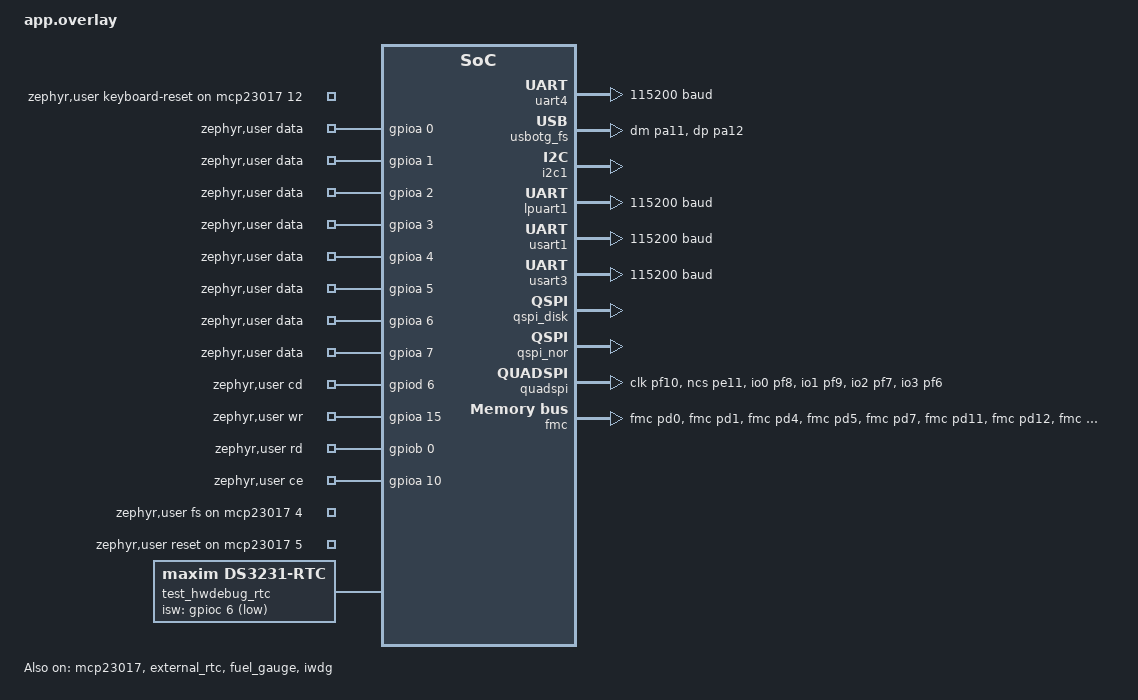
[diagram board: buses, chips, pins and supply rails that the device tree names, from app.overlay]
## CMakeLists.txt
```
# SPDX-License-Identifier: Apache-2.0
cmake_minimum_required(VERSION 3.28.0)

set(BOARD_ROOT ${CMAKE_CURRENT_LIST_DIR}/../..)
find_package(Zephyr REQUIRED HINTS $ENV{ZEPHYR_BASE})
project(test-hwdebug)

target_sources(app PRIVATE
	src/main.c
	src/test_result.c
	src/flash.c
	src/mcp23017.c
	src/rtc.c
	src/fuel_gauge.c
	src/peripheral_tests.c
	src/keyboard_update.c
	src/keyboard_i2c_debug.c
	src/sram_test.c
	src/sram_power.c
	${CMAKE_CURRENT_LIST_DIR}/../../shared/ef800_drivers/ef800_mcp23017.c
	${CMAKE_CURRENT_LIST_DIR}/../../shared/ef800_drivers/ef800_max17043.c
	${CMAKE_CURRENT_LIST_DIR}/../../shared/ef800_drivers/ef800_t6963.c
	${CMAKE_CURRENT_LIST_DIR}/../../shared/ef800_update/ef800_update.c
	${CMAKE_CURRENT_LIST_DIR}/../../shared/ef800_update/ef800_firmware_package.c
	${CMAKE_CURRENT_LIST_DIR}/../../shared/ef800_composition/ef800_composition.c
	${CMAKE_CURRENT_LIST_DIR}/../../shared/ef800_persistence/ef800_persistence.c
	${ZEPHYR_HAL_STM32_MODULE_DIR}/stm32cube/stm32l4xx/drivers/src/stm32l4xx_hal_gpio.c
	${ZEPHYR_HAL_STM32_MODULE_DIR}/stm32cube/stm32l4xx/drivers/src/stm32l4xx_hal_i2c.c
	${ZEPHYR_HAL_STM32_MODULE_DIR}/stm32cube/stm32l4xx/drivers/src/stm32l4xx_hal_i2c_ex.c
	${ZEPHYR_HAL_STM32_MODULE_DIR}/stm32cube/stm32l4xx/drivers/src/stm32l4xx_hal_uart.c
	${ZEPHYR_HAL_STM32_MODULE_DIR}/stm32cube/stm32l4xx/drivers/src/stm32l4xx_hal_uart_ex.c
)

target_include_directories(app PRIVATE
	${CMAKE_CURRENT_LIST_DIR}/../../shared/ef800_drivers
	${CMAKE_CURRENT_LIST_DIR}/../../shared/keyboard_protocol
	${CMAKE_CURRENT_LIST_DIR}/../../shared/ef800_keyboard_boot
	${CMAKE_CURRENT_LIST_DIR}/../../shared/ef800_update
	${CMAKE_CURRENT_LIST_DIR}/../../shared/ef800_composition
	${CMAKE_CURRENT_LIST_DIR}/../../shared/ef800_persistence
)
```

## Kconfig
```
# SPDX-License-Identifier: Apache-2.0

menu "test hardware debug"

config TEST_HWDEBUG_QSPI_HAL
	bool "Use the STM32 QSPI HAL for direct probing"
	default y
	select USE_STM32_HAL_DMA
	select USE_STM32_HAL_QSPI
	help
	  Link the STM32 QSPI HAL for the direct read-only hardware probe without
	  enabling the generic Zephyr external-flash driver.

endmenu

config EF800_APPLICATION_LCD_STATUS_TIMEOUT_US
	int "T6963 status polling timeout (us)"
	default 1000
	range 100 100000
	help
		Bounded status polling timeout used by the shared T6963 driver.

config EF800_USB_VID
	hex "Hardware-debug USB vendor ID"
	default 0x2fe3

config EF800_USB_PID
	hex "Hardware-debug USB product ID"
	default 0xef82

source "Kconfig.zephyr"
```

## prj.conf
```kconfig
# SPDX-License-Identifier: Apache-2.0

# The image replaces the normal internal flash image during bench testing.
CONFIG_USE_DT_CODE_PARTITION=y
CONFIG_MAIN_STACK_SIZE=4096
CONFIG_TEST_HWDEBUG_QSPI_HAL=y

CONFIG_GPIO=y
CONFIG_HWINFO=y
CONFIG_SERIAL=y
CONFIG_CLOCK_CONTROL=y
CONFIG_PINCTRL=y
CONFIG_MEMC=y
CONFIG_I2C=y
CONFIG_GPIO_MCP230XX=y
CONFIG_MFD=y
CONFIG_RTC=y
CONFIG_RTC_DS3231=y
CONFIG_FUEL_GAUGE=y
CONFIG_MAX17048=y
# The minimal new-PCB image has no watchdog or auxiliary peripherals.
CONFIG_WATCHDOG=y

# USB CDC-ACM is the only console transport in this temporary image. The
# application owns a small line-oriented command parser instead of pulling in
# the full Zephyr shell.
CONFIG_UART_INTERRUPT_DRIVEN=y
CONFIG_UART_USE_RUNTIME_CONFIGURE=y
CONFIG_UART_LINE_CTRL=y

# Keep driver diagnostics enabled while the target is being brought up. These
# messages are useful when the flash-disk write path is exercised through MSC.
CONFIG_LOG=n

# Storage ownership test: the test formats the QSPI volume only after an
# explicit console confirmation, then switches ownership between FAT and MSC.
CONFIG_DISK_DRIVERS=y
CONFIG_DISK_DRIVER_FLASH=y
CONFIG_FILE_SYSTEM=y
CONFIG_FILE_SYSTEM_MKFS=y
CONFIG_FAT_FILESYSTEM_ELM=y
CONFIG_FS_FATFS_MOUNT_MKFS=y
CONFIG_FS_FATFS_LFN=y
CONFIG_FS_FATFS_LFN_MODE_STACK=y
CONFIG_USB_DEVICE_STACK_NEXT=y
CONFIG_USBD_MSC_CLASS=y
CONFIG_USBD_CDC_ACM_CLASS=y
CONFIG_CDC_ACM_SERIAL_INITIALIZE_AT_BOOT=n
CONFIG_USBD_MSC_LUNS_PER_INSTANCE=1
CONFIG_USBD_MSC_SCSI_BUFFER_SIZE=512
CONFIG_EF800_USB_VID=0x2fe3
CONFIG_EF800_USB_PID=0x0008
```

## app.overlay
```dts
/* SPDX-License-Identifier: Apache-2.0 */

/ {
	chosen {
		zephyr,code-partition = &hwdebug_partition;
		zephyr,console = &uart4;
		zephyr,shell-uart = &uart4;
	};
};

/* UART4 is the standalone bring-up console: PC10=TX, PC11=RX, 115200 8N1. */
&uart4 {
	current-speed = <115200>;
	status = "okay";
};

/* UART4, Bank 1 IS25, MCP23017, DS3231, and MAX17048 are fitted for bring-up. */
&usbotg_fs {
	status = "okay";
};

&i2c1 {
	status = "okay";
};

&mcp23017 {
	status = "okay";
};

&external_rtc {
	compatible = "maxim,ds3231-mfd";
	status = "okay";

	test_hwdebug_rtc: rtc {
		compatible = "maxim,ds3231-rtc";
		isw-gpios = <&gpioc 6 GPIO_ACTIVE_LOW>;
		status = "okay";
	};
};

&fuel_gauge {
	status = "okay";
};

&lpuart1 {
	current-speed = <115200>;
	status = "okay";
};

&usart1 {
	current-speed = <115200>;
	status = "okay";
};

&uart4 {
	current-speed = <115200>;
	status = "okay";
};

&usart3 {
	current-speed = <115200>;
	status = "okay";
};

&iwdg {
	status = "okay";
};


/* The storage test owns the QSPI disk and switches it between FAT and MSC. */
&qspi_disk {
	status = "okay";
};

/* The storage test uses the generic NOR driver through the flash-disk API. */
&qspi_nor {
	status = "okay";
	size = <DT_SIZE_M(32)>; /* IS25LP032D: 32 Mbit = 4 MiB */
	qspi-max-frequency = <8000000>;
	cs-high-time = <2>;
	reset-cmd;
	reset-cmd-wait = <10>;
	spi-bus-width = <4>;
	writeoc = "PP_1_1_4";
};

&quadspi {
	ssht-enable;
};

&usbotg_fs {
	pinctrl-0 = <&usb_otg_fs_dm_pa11 &usb_otg_fs_dp_pa12>;
	pinctrl-names = "default";
	status = "okay";

	cdc_acm_uart0: cdc_acm_uart0 {
		compatible = "zephyr,cdc-acm-uart";
		label = "EF800 USB CDC ACM";
	};
};

/* The debug image owns the parallel T6963 during display bring-up. */
/ {
	zephyr,user {
		keyboard-reset-gpios = <&mcp23017 12 0>;
		data-gpios = <&gpioa 0 0>, <&gpioa 1 0>, <&gpioa 2 0>,
				     <&gpioa 3 0>, <&gpioa 4 0>, <&gpioa 5 0>,
				     <&gpioa 6 0>, <&gpioa 7 0>;
		cd-gpios = <&gpiod 6 0>;
		wr-gpios = <&gpioa 15 0>;
		rd-gpios = <&gpiob 0 0>;
		ce-gpios = <&gpioa 10 0>;
		fs-gpios = <&mcp23017 4 0>;
		reset-gpios = <&mcp23017 5 0>;
		pixels-horizontal = <240>;
		pixels-vertical = <64>;
		font-width = <6>;
		memory-kb = <8>;
	};
};

#include <zephyr/dt-bindings/pinctrl/stm32-pinctrl.h>
#include <zephyr/dt-bindings/memory-controller/stm32-fmc-nor-psram.h>
#include <zephyr/dt-bindings/clock/stm32_clock.h>

&pinctrl {
	/* Each FMC pad is separate because STM32 pinctrl accepts one pinmux per node. */
	fmc_pd0: fmc_pd0 { pinmux = <STM32_PINMUX('D', 0, AF12)>; slew-rate = "very-high-speed"; };
	fmc_pd1: fmc_pd1 { pinmux = <STM32_PINMUX('D', 1, AF12)>; slew-rate = "very-high-speed"; };
	fmc_pd4: fmc_pd4 { pinmux = <STM32_PINMUX('D', 4, AF12)>; slew-rate = "very-high-speed"; };
	fmc_pd5: fmc_pd5 { pinmux = <STM32_PINMUX('D', 5, AF12)>; slew-rate = "very-high-speed"; };
	fmc_pd7: fmc_pd7 { pinmux = <STM32_PINMUX('D', 7, AF12)>; slew-rate = "very-high-speed"; };
	fmc_pd11: fmc_pd11 { pinmux = <STM32_PINMUX('D', 11, AF12)>; slew-rate = "very-high-speed"; };
	fmc_pd12: fmc_pd12 { pinmux = <STM32_PINMUX('D', 12, AF12)>; slew-rate = "very-high-speed"; };
	fmc_pd13: fmc_pd13 { pinmux = <STM32_PINMUX('D', 13, AF12)>; slew-rate = "very-high-speed"; };
	fmc_pd14: fmc_pd14 { pinmux = <STM32_PINMUX('D', 14, AF12)>; slew-rate = "very-high-speed"; };
	fmc_pd15: fmc_pd15 { pinmux = <STM32_PINMUX('D', 15, AF12)>; slew-rate = "very-high-speed"; };
	fmc_pf0: fmc_pf0 { pinmux = <STM32_PINMUX('F', 0, AF12)>; slew-rate = "very-high-speed"; };
	fmc_pf1: fmc_pf1 { pinmux = <STM32_PINMUX('F', 1, AF12)>; slew-rate = "very-high-speed"; };
	fmc_pf2: fmc_pf2 { pinmux = <STM32_PINMUX('F', 2, AF12)>; slew-rate = "very-high-speed"; };
	fmc_pf3: fmc_pf3 { pinmux = <STM32_PINMUX('F', 3, AF12)>; slew-rate = "very-high-speed"; };
	fmc_pf4: fmc_pf4 { pinmux = <STM32_PINMUX('F', 4, AF12)>; slew-rate = "very-high-speed"; };
	fmc_pf5: fmc_pf5 { pinmux = <STM32_PINMUX('F', 5, AF12)>; slew-rate = "very-high-speed"; };
	fmc_pf12: fmc_pf12 { pinmux = <STM32_PINMUX('F', 12, AF12)>; slew-rate = "very-high-speed"; };
	fmc_pf13: fmc_pf13 { pinmux = <STM32_PINMUX('F', 13, AF12)>; slew-rate = "very-high-speed"; };
	fmc_pf14: fmc_pf14 { pinmux = <STM32_PINMUX('F', 14, AF12)>; slew-rate = "very-high-speed"; };
	fmc_pf15: fmc_pf15 { pinmux = <STM32_PINMUX('F', 15, AF12)>; slew-rate = "very-high-speed"; };
	fmc_pg0: fmc_pg0 { pinmux = <STM32_PINMUX('G', 0, AF12)>; slew-rate = "very-high-speed"; };
	fmc_pg1: fmc_pg1 { pinmux = <STM32_PINMUX('G', 1, AF12)>; slew-rate = "very-high-speed"; };
	fmc_pg2: fmc_pg2 { pinmux = <STM32_PINMUX('G', 2, AF12)>; slew-rate = "very-high-speed"; };
	fmc_pg3: fmc_pg3 { pinmux = <STM32_PINMUX('G', 3, AF12)>; slew-rate = "very-high-speed"; };
	fmc_pg4: fmc_pg4 { pinmux = <STM32_PINMUX('G', 4, AF12)>; slew-rate = "very-high-speed"; };
	fmc_pg5: fmc_pg5 { pinmux = <STM32_PINMUX('G', 5, AF12)>; slew-rate = "very-high-speed"; };
	fmc_pe0: fmc_pe0 { pinmux = <STM32_PINMUX('E', 0, AF12)>; slew-rate = "very-high-speed"; };
	fmc_pe7: fmc_pe7 { pinmux = <STM32_PINMUX('E', 7, AF12)>; slew-rate = "very-high-speed"; };
	fmc_pe8: fmc_pe8 { pinmux = <STM32_PINMUX('E', 8, AF12)>; slew-rate = "very-high-speed"; };
	fmc_pe9: fmc_pe9 { pinmux = <STM32_PINMUX('E', 9, AF12)>; slew-rate = "very-high-speed"; };
	fmc_pe10: fmc_pe10 { pinmux = <STM32_PINMUX('E', 10, AF12)>; };

	usart1_tx_pb6: usart1_tx_pb6 {
		pinmux = <STM32_PINMUX('B', 6, AF7)>;
		bias-pull-up;
		drive-push-pull;
	};

	usart1_rx_pb7: usart1_rx_pb7 {
		pinmux = <STM32_PINMUX('B', 7, AF7)>;
		bias-pull-up;
	};

	usart3_tx_pd8: usart3_tx_pd8 {
		pinmux = <STM32_PINMUX('D', 8, AF7)>;
		bias-pull-up;
		drive-push-pull;
	};

	usart3_rx_pd9: usart3_rx_pd9 {
		pinmux = <STM32_PINMUX('D', 9, AF7)>;
		bias-pull-up;
	};

	lpuart1_tx_pg7: lpuart1_tx_pg7 {
		pinmux = <STM32_PINMUX('G', 7, AF8)>;
		bias-pull-up;
		drive-push-pull;
	};

	lpuart1_rx_pc0: lpuart1_rx_pc0 {
		pinmux = <STM32_PINMUX('C', 0, AF8)>;
		bias-pull-up;
	};

	usb_otg_fs_dm_pa11: usb_otg_fs_dm_pa11 {
		pinmux = <STM32_PINMUX('A', 11, AF10)>;
	};

	usb_otg_fs_dp_pa12: usb_otg_fs_dp_pa12 {
		pinmux = <STM32_PINMUX('A', 12, AF10)>;
	};


	quadspi_clk_pf10: quadspi_clk_pf10 {
		pinmux = <STM32_PINMUX('F', 10, AF3)>;
	};

	quadspi_bk1_ncs_pe11: quadspi_bk1_ncs_pe11 {
		pinmux = <STM32_PINMUX('E', 11, AF10)>;
		bias-pull-up;
	};

	quadspi_bk1_io0_pf8: quadspi_bk1_io0_pf8 {
		pinmux = <STM32_PINMUX('F', 8, AF10)>;
	};

	quadspi_bk1_io1_pf9: quadspi_bk1_io1_pf9 {
		pinmux = <STM32_PINMUX('F', 9, AF10)>;
	};

	quadspi_bk1_io2_pf7: quadspi_bk1_io2_pf7 {
		pinmux = <STM32_PINMUX('F', 7, AF10)>;
		bias-pull-up;
	};

	quadspi_bk1_io3_pf6: quadspi_bk1_io3_pf6 {
		pinmux = <STM32_PINMUX('F', 6, AF10)>;
		bias-pull-up;
	};

};

&fmc {
	pinctrl-0 = <&fmc_pd0 &fmc_pd1 &fmc_pd4 &fmc_pd5 &fmc_pd7
		&fmc_pd11 &fmc_pd12 &fmc_pd13 &fmc_pd14 &fmc_pd15
		&fmc_pf0 &fmc_pf1 &fmc_pf2 &fmc_pf3 &fmc_pf4 &fmc_pf5
		&fmc_pf12 &fmc_pf13 &fmc_pf14 &fmc_pf15
		&fmc_pg0 &fmc_pg1 &fmc_pg2 &fmc_pg3 &fmc_pg4 &fmc_pg5
		&fmc_pe0 &fmc_pe7 &fmc_pe8 &fmc_pe9 &fmc_pe10>;
	pinctrl-names = "default";
	status = "okay";
};

&fmc_sram {
	status = "okay";
};

/* Distinct linker-visible region; not selected as Zephyr's internal SRAM. */
&external_sram {
	status = "okay";
};

&sram_bank1 {
	st,control = <STM32_FMC_DATA_ADDRESS_MUX_DISABLE
		STM32_FMC_MEMORY_TYPE_SRAM
		STM32_FMC_NORSRAM_MEM_BUS_WIDTH_8
		STM32_FMC_BURST_ACCESS_MODE_DISABLE
		STM32_FMC_WAIT_SIGNAL_POLARITY_LOW
		STM32_FMC_WAIT_TIMING_BEFORE_WS
		STM32_FMC_WRITE_OPERATION_ENABLE
		STM32_FMC_WAIT_SIGNAL_DISABLE
		STM32_FMC_EXTENDED_MODE_DISABLE
		STM32_FMC_ASYNCHRONOUS_WAIT_DISABLE
		STM32_FMC_WRITE_BURST_DISABLE
		STM32_FMC_CONTINUOUS_CLOCK_SYNC_ONLY
		STM32_FMC_WRITE_FIFO_ENABLE
		STM32_FMC_PAGE_SIZE_NONE>;
	/* Normal EF800 HCLK=80 MHz; 12.5 ns setup, >=25 ns data/write phase. */
	st,timing = <1 1 2 0 2 0 STM32_FMC_ACCESS_MODE_A>;
	status = "okay";
};

&quadspi {
	pinctrl-0 = <&quadspi_clk_pf10 &quadspi_bk1_ncs_pe11
			 &quadspi_bk1_io0_pf8 &quadspi_bk1_io1_pf9
				 &quadspi_bk1_io2_pf7 &quadspi_bk1_io3_pf6>;
	pinctrl-names = "default";
	status = "okay";
};

/* This temporary image owns internal flash while it is being debugged. */
&flash0 {
	partitions {
		/delete-node/ partition@0;
		/delete-node/ partition@10000;
		/delete-node/ partition@20000;
		/delete-node/ partition@30000;

		hwdebug_partition: partition@0 {
			label = "hwdebug";
			reg = <0x00000000 0x00100000>;
		};
	};
};
```

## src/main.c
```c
/* SPDX-License-Identifier: Apache-2.0 */
/** @file @brief Register hardware bring-up commands and diagnostics. */

#include <stdbool.h>
#include <errno.h>
#include <stdint.h>
#include <stdlib.h>
#include <string.h>

#include <zephyr/device.h>
#include <zephyr/kernel.h>
#include <zephyr/drivers/uart.h>
#include <zephyr/sys/util.h>
#include <zephyr/drivers/hwinfo.h>

#include "flash.h"
#include "mcp23017.h"
#include "rtc.h"
#include "fuel_gauge.h"
#include "peripheral_tests.h"
#include "keyboard_i2c_debug.h"
#include "sram_test.h"

#define CONSOLE_LINE_SIZE 128U
#define CONSOLE_RX_QUEUE_SIZE 128U

static const struct device *const console_uart =
	DEVICE_DT_GET(DT_CHOSEN(zephyr_console));
static char console_line[CONSOLE_LINE_SIZE];
static size_t console_line_length;
K_MSGQ_DEFINE(console_rx_queue, sizeof(uint8_t), CONSOLE_RX_QUEUE_SIZE, 1);

const struct device *hwdebug_console_device(void)
{
	return console_uart;
}

static void print_help(void)
{
	hwdebug_console_puts("commands:\r\n"
		"\r\n"
		"hardware tests:\r\n"
		"  hardware test flash|mcp23017|rtc|fuel-gauge|keyboard|display|all\r\n"
		"  keyboard test|interactive\r\n"
		"  keyboard baud-test\r\n"
		"  keyboard version\r\n"
		"  keyboard version-raw\r\n"
		"  keyboard id-raw\r\n"
		"  keyboard i2c-status\r\n"
		"  keyboard i2c-rom-test (no flash erase/write)\r\n"
		"  keyboard update /DATA:/fwu/EF800_KEYBOARD_APP.pkg\r\n"
		"  keyboard receive\r\n"
		"  keyboard bootloader probe\r\n"
		"  display test|interactive|status|wr-test [count]\r\n"
		"  uart test port1|port2\r\n"
		"  uart fts3-test uart1|uart3 (9600 8N1)\r\n"
		"  uart elta3-test uart1|uart3 (1200 7O2)\r\n"
		"  lpuart test\r\n"
		"  lpuart host-test\r\n"
		"  lpuart bitbang-test\r\n"
		"  storage test\r\n"
		"  storage format-layout\r\n"
		"  storage format-volumes\r\n"
		"  watchdog test\r\n"
		"  sram test\r\n"
		"  usb cdc test\r\n"
		"  next (storage step)\r\n"
		"  pass|fail|cancel|exit (pending interactive test)\r\n"
		"\r\n"
		"flash / QUADSPI:\r\n"
		"  flash info\r\n"
		"  flash probe\r\n"
		"  flash recover\r\n"
		"  flash jedec\r\n"
		"  flash sfdp [offset] [length]\r\n"
		"  flash read <offset> <length>\r\n"
		"  flash bitbang-read <offset> <length>\r\n"
		"  flash api-read <offset> <length>\r\n"
		"  flash program-test confirm (tests 0x8000, erases sector afterward)\r\n"
		"  flash test spi|qspi-1line|qspi-4line|qpi|all\r\n"
		"  qspi bitbang spi|qpi\r\n"
		"\r\n"
		"MCP23017:\r\n"
		"  mcp23017 test\r\n"
		"  mcp23017 raw\r\n"
		"  mcp23017 stm32-hal\r\n"
		"  mcp23017 shared-driver\r\n"
		"\r\n"
		"RTC / fuel gauge:\r\n"
		"  rtc test\r\n"
		"  fuel-gauge test\r\n");
}

static int parse_u32(const char *text, uint32_t *value)
{
	char *end;
	unsigned long parsed;

	if (text == NULL || value == NULL || text[0] == '\0' || text[0] == '-') {
		return -EINVAL;
	}
	parsed = strtoul(text, &end, 0);
	if (end == text || *end != '\0' || parsed > UINT32_MAX) {
		return -EINVAL;
	}
	*value = (uint32_t)parsed;
	return 0;
}

static void handle_command(char *line)
{
	char *command = strtok(line, " \t");
	char *subcommand;
	char *argument;
	char *extra;
	uint32_t offset;
	uint32_t length;

	if (command == NULL) return;
	if (hwdebug_interactive_pending() &&
	    (strcmp(command, "pass") == 0 || strcmp(command, "fail") == 0 ||
	     strcmp(command, "cancel") == 0 || strcmp(command, "exit") == 0 ||
	     strcmp(command, "next") == 0 ||
	     strcmp(command, "format-confirm") == 0) &&
	    strtok(NULL, " \t") == NULL) {
		hwdebug_interactive_reply(command);
		return;
	}
	if (strcmp(command, "keyboard") == 0) {
		subcommand = strtok(NULL, " \t");
		argument = strtok(NULL, " \t");
		if (subcommand != NULL && strcmp(subcommand, "test") == 0 &&
		    argument == NULL && strtok(NULL, " \t") == NULL) {
			hwdebug_keyboard_test("keyboard");
		} else if (subcommand != NULL && strcmp(subcommand, "baud-test") == 0 &&
			   argument == NULL && strtok(NULL, " \t") == NULL) {
			hwdebug_keyboard_baud_test();
		} else if (subcommand != NULL && strcmp(subcommand, "version") == 0 &&
			   argument == NULL && strtok(NULL, " \t") == NULL) {
			hwdebug_keyboard_version();
		} else if (subcommand != NULL && strcmp(subcommand, "version-raw") == 0 &&
			   argument == NULL && strtok(NULL, " \t") == NULL) {
			hwdebug_keyboard_version_raw();
		} else if (subcommand != NULL && strcmp(subcommand, "id-raw") == 0 &&
			   argument == NULL && strtok(NULL, " \t") == NULL) {
			hwdebug_keyboard_id_raw();
		} else if (subcommand != NULL && strcmp(subcommand, "i2c-status") == 0 &&
			   argument == NULL && strtok(NULL, " \t") == NULL) {
			hwdebug_keyboard_i2c_status();
		} else if (subcommand != NULL && strcmp(subcommand, "i2c-rom-test") == 0 &&
			   argument == NULL && strtok(NULL, " \t") == NULL) {
			hwdebug_keyboard_i2c_rom_test();
		} else if (subcommand != NULL && strcmp(subcommand, "interactive") == 0 &&
			   argument == NULL && strtok(NULL, " \t") == NULL) {
			hwdebug_keyboard_interactive();
		} else if (subcommand != NULL && strcmp(subcommand, "update") == 0 &&
			   argument != NULL && strtok(NULL, " \t") == NULL) {
			hwdebug_keyboard_update(argument);
		} else if (subcommand != NULL && strcmp(subcommand, "receive") == 0 &&
			   argument == NULL && strtok(NULL, " \t") == NULL) {
			hwdebug_keyboard_receive();
		} else if (subcommand != NULL && strcmp(subcommand, "bootloader") == 0 &&
			   argument != NULL && strcmp(argument, "probe") == 0 &&
			   strtok(NULL, " \t") == NULL) {
			hwdebug_keyboard_bootloader_probe();
		} else {
			hwdebug_console_puts("error: usage: keyboard test|interactive|update <path>\r\n");
		}
		return;
	}
	if (strcmp(command, "display") == 0) {
		subcommand = strtok(NULL, " \t");
		argument = strtok(NULL, " \t");
		if (subcommand != NULL && strcmp(subcommand, "test") == 0 &&
		    argument == NULL && strtok(NULL, " \t") == NULL) {
			hwdebug_display_test();
		} else if (subcommand != NULL && strcmp(subcommand, "interactive") == 0 &&
			   argument == NULL && strtok(NULL, " \t") == NULL) {
			hwdebug_display_interactive();
		} else if (subcommand != NULL && strcmp(subcommand, "wr-test") == 0 &&
			   (argument == NULL || strtok(NULL, " \t") == NULL)) {
			uint32_t count = 20U;
			if (argument != NULL && parse_u32(argument, &count) != 0) {
				hwdebug_console_puts("error: usage: display wr-test [count]\r\n");
			} else {
				 hwdebug_display_wr_test(count);
			}
		} else if (subcommand != NULL && strcmp(subcommand, "status") == 0 &&
			   argument == NULL && strtok(NULL, " \t") == NULL) {
			hwdebug_display_status();
		} else {
			hwdebug_console_puts("error: usage: display test|interactive|status|wr-test [count]\r\n");
		}
		return;
	}
	if (strcmp(command, "uart") == 0) {
		subcommand = strtok(NULL, " \t");
		argument = strtok(NULL, " \t");
		if (subcommand != NULL &&
		    (strcmp(subcommand, "fts3-test") == 0 || strcmp(subcommand, "elta3-test") == 0) &&
		    argument != NULL && strtok(NULL, " \t") == NULL &&
		    (strcmp(argument, "uart1") == 0 || strcmp(argument, "uart3") == 0)) {
			hwdebug_instrument_uart_test(strcmp(subcommand, "fts3-test") == 0 ?
				"fts3xx" : "elta3", argument);
		} else if (subcommand != NULL && strcmp(subcommand, "test") == 0 &&
		    argument != NULL && strtok(NULL, " \t") == NULL &&
		    (strcmp(argument, "port1") == 0 || strcmp(argument, "port2") == 0)) {
			hwdebug_uart_test(argument);
		} else {
			hwdebug_console_puts("error: usage: uart test port1|port2\r\n");
		}
		return;
	}
	if (strcmp(command, "lpuart") == 0) {
		subcommand = strtok(NULL, " \t");
		if (subcommand != NULL && strcmp(subcommand, "test") == 0 &&
		    strtok(NULL, " \t") == NULL) {
			hwdebug_lpuart_test();
		} else if (subcommand != NULL && strcmp(subcommand, "host-test") == 0 &&
			   strtok(NULL, " \t") == NULL) {
			hwdebug_lpuart_host_test();
		} else if (subcommand != NULL && strcmp(subcommand, "bitbang-test") == 0 &&
			   strtok(NULL, " \t") == NULL) {
			hwdebug_lpuart_bitbang_test();
		} else {
			hwdebug_console_puts("error: usage: lpuart test|host-test\r\n");
		}
		return;
	}
	if (strcmp(command, "storage") == 0) {
		subcommand = strtok(NULL, " \t");
		if (subcommand != NULL && strcmp(subcommand, "test") == 0 &&
		    strtok(NULL, " \t") == NULL) {
			hwdebug_storage_test();
		} else if (subcommand != NULL && strcmp(subcommand, "format-layout") == 0 &&
			   strtok(NULL, " \t") == NULL) {
			hwdebug_storage_format_layout();
		} else if (subcommand != NULL && strcmp(subcommand, "format-volumes") == 0 &&
			   strtok(NULL, " \t") == NULL) {
			hwdebug_storage_format_volumes();
		} else {
			hwdebug_console_puts("error: usage: storage test|format-layout|format-volumes\r\n");
		}
		return;
	}
	if (strcmp(command, "watchdog") == 0) {
		subcommand = strtok(NULL, " \t");
		if (subcommand != NULL && strcmp(subcommand, "test") == 0 &&
			strtok(NULL, " \t") == NULL) {
			hwdebug_flash_watchdog_test();
		} else {
			hwdebug_console_puts("error: usage: watchdog test\r\n");
		}
		return;
	}
	if (strcmp(command, "usb") == 0) {
		subcommand = strtok(NULL, " \t");
		argument = strtok(NULL, " \t");
		if (subcommand != NULL && argument != NULL &&
		    strcmp(subcommand, "cdc") == 0 && strcmp(argument, "test") == 0 &&
		    strtok(NULL, " \t") == NULL) {
			hwdebug_usb_cdc_test();
		} else {
			hwdebug_console_puts("error: usage: usb cdc test\r\n");
		}
		return;
	}
	if (strcmp(command, "help") == 0) { print_help(); return; }
	if (strcmp(command, "sram") == 0) {
		subcommand = strtok(NULL, " \t");
		if (subcommand != NULL && strcmp(subcommand, "test") == 0 &&
		    strtok(NULL, " \t") == NULL) {
			hwdebug_sram_test();
		} else {
			hwdebug_console_puts("error: usage: sram test\r\n");
		}
		return;
	}
	if (strcmp(command, "hardware") == 0) {
		subcommand = strtok(NULL, " \t");
		argument = strtok(NULL, " \t");
		if (subcommand != NULL && strcmp(subcommand, "test") == 0 && argument != NULL &&
			strtok(NULL, " \t") == NULL) {
			if (strcmp(argument, "flash") == 0 || strcmp(argument, "all") == 0)
				hwdebug_flash_test_group("all");
			if (strcmp(argument, "mcp23017") == 0 || strcmp(argument, "all") == 0)
				hwdebug_mcp23017_test();
			if (strcmp(argument, "rtc") == 0 || strcmp(argument, "all") == 0)
				hwdebug_rtc_test();
			if (strcmp(argument, "fuel-gauge") == 0 || strcmp(argument, "all") == 0)
				hwdebug_fuel_gauge_test();
			if (strcmp(argument, "keyboard") == 0 || strcmp(argument, "all") == 0)
				hwdebug_keyboard_test("keyboard");
			if (strcmp(argument, "display") == 0 || strcmp(argument, "all") == 0)
				hwdebug_display_test();
			return;
		}
		hwdebug_console_puts("error: usage: hardware test flash|mcp23017|rtc|fuel-gauge|keyboard|display|all\r\n");
		return;
	}
	if (strcmp(command, "rtc") == 0 || strcmp(command, "fuel-gauge") == 0) {
		subcommand = strtok(NULL, " \t");
		if (subcommand != NULL && strcmp(subcommand, "test") == 0 &&
			strtok(NULL, " \t") == NULL) {
			if (strcmp(command, "rtc") == 0) hwdebug_rtc_test();
			else hwdebug_fuel_gauge_test();
		} else {
			hwdebug_console_printf("error: usage: %s test\r\n", command);
		}
		return;
	}
	if (strcmp(command, "mcp23017") == 0) {
		subcommand = strtok(NULL, " \t");
		if (subcommand != NULL && strtok(NULL, " \t") == NULL) {
			if (strcmp(subcommand, "test") == 0) {
				hwdebug_mcp23017_test();
			} else if (strcmp(subcommand, "raw") == 0) {
				hwdebug_mcp23017_raw_test();
			} else if (strcmp(subcommand, "stm32-hal") == 0) {
				hwdebug_mcp23017_hal_test();
			} else if (strcmp(subcommand, "shared-driver") == 0) {
				hwdebug_mcp23017_driver_test();
			} else {
				hwdebug_console_puts("error: unknown MCP23017 test; use help\r\n");
			}
		} else {
			hwdebug_console_puts("error: usage: mcp23017 test\r\n");
		}
		return;
	}
	if (strcmp(command, "flash") != 0 && strcmp(command, "qspi") != 0) {
		hwdebug_console_puts("error: unknown command; use help\r\n"); return;
	}
	subcommand = strtok(NULL, " \t");
	if (subcommand == NULL) { print_help(); return; }
	if (strcmp(command, "qspi") == 0 && strcmp(subcommand, "bitbang") == 0) {
		argument = strtok(NULL, " \t");
		if (argument == NULL || strtok(NULL, " \t") != NULL)
			hwdebug_console_puts("error: usage: qspi bitbang spi|qpi\r\n");
		else hwdebug_flash_bitbang(argument);
		return;
	}
	if (strcmp(subcommand, "info") == 0 && strtok(NULL, " \t") == NULL) {
		hwdebug_flash_info(); return;
	}
	if ((strcmp(subcommand, "probe") == 0 || strcmp(subcommand, "recover") == 0 ||
		strcmp(subcommand, "jedec") == 0) && strtok(NULL, " \t") == NULL) {
		if (strcmp(subcommand, "probe") == 0) hwdebug_flash_probe();
		else if (strcmp(subcommand, "recover") == 0) (void)hwdebug_flash_recover(true);
		else hwdebug_flash_jedec();
		return;
	}
	if (strcmp(subcommand, "test") == 0) {
		argument = strtok(NULL, " \t");
		if (argument != NULL && strtok(NULL, " \t") == NULL) {
			if (strcmp(argument, "qspi") == 0) { hwdebug_flash_test_group("qspi-1line"); hwdebug_flash_test_group("qspi-4line"); }
			else hwdebug_flash_test_group(argument);
			return;
		}
		hwdebug_console_puts("error: usage: flash test spi|qspi-1line|qspi-4line|qpi|all\r\n"); return;
	}
	if (strcmp(subcommand, "sfdp") == 0) {
		argument = strtok(NULL, " \t"); extra = strtok(NULL, " \t");
		if (argument == NULL) { offset = 0U; length = 64U; }
		else if (parse_u32(argument, &offset) != 0 || (extra != NULL && parse_u32(extra, &length) != 0) || strtok(NULL, " \t") != NULL) {
			hwdebug_console_puts("error: usage: flash sfdp [offset] [length]\r\n"); return;
		} else length = extra == NULL ? 64U : length;
		hwdebug_flash_sfdp(offset, length); return;
	}
	if (strcmp(subcommand, "read") == 0) {
		argument = strtok(NULL, " \t"); extra = strtok(NULL, " \t");
		if (argument == NULL || extra == NULL || strtok(NULL, " \t") != NULL || parse_u32(argument, &offset) != 0 || parse_u32(extra, &length) != 0)
			hwdebug_console_puts("error: usage: flash read <offset> <length>\r\n");
		else hwdebug_flash_read(offset, length);
		return;
	}
	if (strcmp(subcommand, "bitbang-read") == 0) {
		argument = strtok(NULL, " \t"); extra = strtok(NULL, " \t");
		if (argument == NULL || extra == NULL || strtok(NULL, " \t") != NULL ||
		    parse_u32(argument, &offset) != 0 || parse_u32(extra, &length) != 0) {
			hwdebug_console_puts("error: usage: flash bitbang-read <offset> <length>\r\n");
		} else {
			hwdebug_flash_bitbang_read(offset, length);
		}
		return;
	}
	if (strcmp(subcommand, "api-read") == 0) {
		argument = strtok(NULL, " \t"); extra = strtok(NULL, " \t");
		if (argument == NULL || extra == NULL || strtok(NULL, " \t") != NULL ||
		    parse_u32(argument, &offset) != 0 ||
		    parse_u32(extra, &length) != 0) {
			hwdebug_console_puts("error: usage: flash api-read <offset> <length>\r\n");
		} else {
			hwdebug_flash_api_read(offset, length);
		}
		return;
	}
	if (strcmp(subcommand, "program-test") == 0) {
		argument = strtok(NULL, " \t");
		if (argument == NULL || strcmp(argument, "confirm") != 0 ||
		    strtok(NULL, " \t") != NULL) {
			hwdebug_console_puts("warning: program-test erases only QSPI sector 0x8000\r\n"
				"usage: flash program-test confirm\r\n");
		} else {
			hwdebug_flash_program_test();
		}
		return;
	}
	hwdebug_console_puts("error: unknown flash command; use help\r\n");
}

static void console_rx_callback(const struct device *device, void *user_data)
{
	uint8_t data[16]; int count;
	ARG_UNUSED(user_data);
	uart_irq_update(device);
	while (uart_irq_is_pending(device)) {
		if (!uart_irq_rx_ready(device)) continue;
		count = uart_fifo_read(device, data, sizeof(data));
		for (int index = 0; index < count; ++index) (void)k_msgq_put(&console_rx_queue, &data[index], K_NO_WAIT);
	}
}

int main(void)
{
	uint8_t received;
	int watchdog_result = hwdebug_flash_watchdog_init();
	int keyboard_reset_result;
	uint32_t reset_cause = 0U;
	bool watchdog_reset = false;
	if (!device_is_ready(console_uart)) return 0;
	if (hwinfo_get_reset_cause(&reset_cause) == 0) {
		watchdog_reset = (reset_cause & RESET_WATCHDOG) != 0U;
		(void)hwinfo_clear_reset_cause();
	}
	keyboard_reset_result = hwdebug_keyboard_reset_release();
	uart_irq_callback_set(console_uart, console_rx_callback);
	uart_irq_rx_enable(console_uart);
	hwdebug_console_puts("boot: main\r\nboot: UART4 ready\r\nboot: clock source HSE 25 MHz -> PLL -> SYSCLK 80 MHz\r\ntest hardware debug\r\n");
	hwdebug_console_printf("boot: reason=%s (reset_cause=0x%08x)\r\n",
		watchdog_reset ? "watchdog" : "normal", reset_cause);
	hwdebug_console_printf("watchdog: %s (%d)\r\n", watchdog_result == 0 ? "feeding" : "unavailable", watchdog_result);
	hwdebug_console_printf("keyboard reset: released high (%d)\r\n", keyboard_reset_result);
	print_help(); hwdebug_console_puts("> ");
	while (true) {
		hwdebug_flash_watchdog_feed();
		if (k_msgq_get(&console_rx_queue, &received, K_MSEC(100)) != 0) continue;
		if (received == '\r' || received == '\n') {
			if (console_line_length != 0U) { console_line[console_line_length] = '\0'; handle_command(console_line); console_line_length = 0U; }
			hwdebug_console_puts("> ");
		} else if (received == '\b' || received == 0x7fU) {
			if (console_line_length != 0U) { --console_line_length; hwdebug_console_puts("\b \b"); }
		} else if (received >= 0x20U && received <= 0x7eU && console_line_length + 1U < sizeof(console_line)) {
			console_line[console_line_length++] = (char)received; uart_poll_out(console_uart, received);
		}
	}
}
```

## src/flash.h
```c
/* SPDX-License-Identifier: Apache-2.0 */
/** @file
 * @brief Hardware-debug console and QSPI flash diagnostics/recovery commands.
 */

#ifndef TEST_HWDEBUG_FLASH_H
#define TEST_HWDEBUG_FLASH_H

#include <stdbool.h>
#include <stddef.h>
#include <stdint.h>

struct device;

/** @brief Get the configured hardware-debug console device.
 * @return Console device, or NULL when no device is configured.
 */
const struct device *hwdebug_console_device(void);

/** @brief Write a NUL-terminated string to the debug console.
 * @param text Text to send; NULL is ignored.
 * @return None.
 */
void hwdebug_console_puts(const char *text);

/** @brief Format and write a message to the debug console.
 * @param format printf-style format string.
 * @param ... Values referenced by format.
 * @return None.
 */
void hwdebug_console_printf(const char *format, ...);

/** @brief Print a byte buffer as a hexadecimal dump.
 * @param offset Address/offset label for the first byte.
 * @param data Bytes to display.
 * @param length Number of bytes in data.
 * @return None.
 */
void hwdebug_console_hexdump(uint32_t offset, const uint8_t *data, size_t length);

/** @brief Initialize watchdog handling for long-running flash diagnostics.
 * @return 0 on success; negative errno if setup fails.
 */
int hwdebug_flash_watchdog_init(void);

/** @brief Feed the watchdog during a diagnostic operation.
 * @return None.
 */
void hwdebug_flash_watchdog_feed(void);

/** @brief Run the watchdog feed/reset diagnostic.
 * @return None.
 */
void hwdebug_flash_watchdog_test(void);

/** @brief Run the selected software-driven flash bus mode.
 * @param mode Requested bus mode string.
 * @return None.
 */
void hwdebug_flash_bitbang(const char *mode);

/** @brief Print detected flash geometry and identification.
 * @return None.
 */
void hwdebug_flash_info(void);

/** @brief Probe the flash device and report whether it responds.
 * @return None.
 */
void hwdebug_flash_probe(void);

/** @brief Read and print the flash JEDEC identification bytes.
 * @return None.
 */
void hwdebug_flash_jedec(void);

/** @brief Print a bounded SFDP data range.
 * @param offset SFDP byte offset.
 * @param length Number of bytes to inspect.
 * @return None.
 */
void hwdebug_flash_sfdp(uint32_t offset, uint32_t length);

/** @brief Read and display a range using the selected flash API.
 * @param offset Flash byte offset.
 * @param length Number of bytes to read.
 * @return None.
 */
void hwdebug_flash_read(uint32_t offset, uint32_t length);

/** @brief Read and display a range using software bit-banged access.
 * @param offset Flash byte offset.
 * @param length Number of bytes to read.
 * @return None.
 */
void hwdebug_flash_bitbang_read(uint32_t offset, uint32_t length);

/** @brief Read and display a range through the Zephyr flash API.
 * @param offset Flash byte offset.
 * @param length Number of bytes to read.
 * @return None.
 */
void hwdebug_flash_api_read(uint32_t offset, uint32_t length);

/** @brief Run the explicitly bounded flash program/erase diagnostic.
 * @return None.
 */
void hwdebug_flash_program_test(void);

/** @brief Recover the configured flash state and optionally print progress.
 * @param verbose True to report each recovery step.
 * @return 0 on recovery; negative errno if recovery fails.
 */
int hwdebug_flash_recover(bool verbose);

/** @brief Run one named flash diagnostic group.
 * @param name Group name selected by the caller.
 * @return None.
 */
void hwdebug_flash_test_group(const char *name);

/** @brief Run the complete flash diagnostic suite.
 * @return None.
 */
void hwdebug_flash_test_all(void);

#endif
```

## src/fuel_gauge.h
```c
/* SPDX-License-Identifier: Apache-2.0 */
/** @file @brief Hardware-debug fuel-gauge communication and reading test. */

#ifndef TEST_HWDEBUG_FUEL_GAUGE_H
#define TEST_HWDEBUG_FUEL_GAUGE_H

/** @brief Read and report fuel-gauge voltage and state-of-charge values.
 * @return None; prints diagnostic results.
 */
void hwdebug_fuel_gauge_test(void);

#endif
```

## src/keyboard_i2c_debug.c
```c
/* SPDX-License-Identifier: Apache-2.0 */

#include "keyboard_i2c_debug.h"

#include <errno.h>
#include <stdint.h>
#include <string.h>

#include <zephyr/device.h>
#include <zephyr/devicetree.h>
#include <zephyr/drivers/i2c.h>
#include <zephyr/kernel.h>

#include "ef800_keyboard_i2c.h"
#include "flash.h"

#define KEYBOARD_ROM_I2C_ADDRESS 0x48U
#define KEYBOARD_ROM_ACK 0x79U
#define KEYBOARD_ROM_CMD_GET_ID 0x02U
#define KEYBOARD_ROM_CMD_GO 0x21U

static int rom_write(const struct device *bus, const uint8_t *data, size_t length)
{
	return i2c_write(bus, data, length, KEYBOARD_ROM_I2C_ADDRESS);
}

static int rom_read(const struct device *bus, uint8_t *data, size_t length)
{
	return i2c_read(bus, data, length, KEYBOARD_ROM_I2C_ADDRESS);
}

static int rom_wait_ack(const struct device *bus, uint32_t timeout_ms)
{
	int64_t deadline = k_uptime_get() + timeout_ms;
	uint8_t response;
	int result;

	do {
		result = rom_read(bus, &response, sizeof(response));
		if (result == 0 && response == KEYBOARD_ROM_ACK) {
			return 0;
		}
		if (result == 0) {
		hwdebug_console_printf("keyboard-rom: unexpected byte=0x%02x\r\n",
				response);
			return -EPROTO;
		}
		hwdebug_flash_watchdog_feed();
		k_msleep(10U);
	} while (k_uptime_get() < deadline);

	return result != 0 ? result : -ETIMEDOUT;
}

static int rom_sync(const struct device *bus)
{
	const uint8_t sync = 0x7FU;
	int64_t deadline = k_uptime_get() + 15000U;
	int result;

	do {
		result = rom_write(bus, &sync, sizeof(sync));
		if (result == 0) {
			result = rom_wait_ack(bus, 100U);
			if (result == 0) {
				return 0;
			}
		}
		hwdebug_flash_watchdog_feed();
		k_msleep(50U);
	} while (k_uptime_get() < deadline);

	return result != 0 ? result : -ETIMEDOUT;
}

static int rom_command(const struct device *bus, uint8_t command)
{
	uint8_t packet[] = {command, (uint8_t)~command};
	int result = rom_write(bus, packet, sizeof(packet));

	return result == 0 ? rom_wait_ack(bus, 2000U) : result;
}

void hwdebug_keyboard_i2c_status(void)
{
	const struct device *const bus = DEVICE_DT_GET(DT_NODELABEL(i2c1));
	const uint8_t request = EF800_KEYBOARD_I2C_CMD_STATUS;
	uint8_t response[EF800_KEYBOARD_I2C_STATUS_SIZE];
	int result;

	memset(response, 0xCC, sizeof(response));

	if (!device_is_ready(bus)) {
		hwdebug_console_printf("keyboard-i2c: I2C1 not ready\r\n");
		return;
	}

	hwdebug_console_printf("keyboard-i2c: I2C1 status query addr=0x%02x "
		"request=0x%02x\r\n", EF800_KEYBOARD_I2C_ADDRESS, request);
	result = i2c_write_read(bus, EF800_KEYBOARD_I2C_ADDRESS,
		&request, sizeof(request), response, sizeof(response));
	hwdebug_console_printf("keyboard-i2c: transfer=%d raw="
		"%02x %02x %02x %02x %02x %02x\r\n", result,
		response[0], response[1], response[2], response[3],
		response[4], response[5]);

	if (result != 0) {
		hwdebug_console_printf("keyboard-i2c: no complete response (%d); "
			"check target power/reset, PB6/PB7 wiring, pull-ups, and address\r\n",
			result);
		return;
	}

	if (response[0] != EF800_KEYBOARD_I2C_CMD_STATUS ||
	    response[4] != EF800_KEYBOARD_I2C_MODE_APPLICATION ||
	    response[5] != EF800_KEYBOARD_I2C_ACK) {
		hwdebug_console_printf("keyboard-i2c: malformed status frame\r\n");
		return;
	}

	hwdebug_console_printf("keyboard-i2c: PASS application version=%u.%u.%u\r\n",
		response[1], response[2], response[3]);
}

void hwdebug_keyboard_i2c_rom_test(void)
{
	const struct device *const bus = DEVICE_DT_GET(DT_NODELABEL(i2c1));
	const uint8_t enter = EF800_KEYBOARD_I2C_CMD_ENTER_ROM;
	uint8_t enter_response[2] = {0U};
	uint8_t count = 0U;
	uint8_t id[2] = {0U};
	uint8_t go_address[] = {0x08U, 0x00U, 0x00U, 0x00U, 0x08U};
	uint8_t status_request = EF800_KEYBOARD_I2C_CMD_STATUS;
	uint8_t status[EF800_KEYBOARD_I2C_STATUS_SIZE];
	int result;

	if (!device_is_ready(bus)) {
		hwdebug_console_puts("keyboard-rom: I2C1 not ready\r\n");
		return;
	}

	hwdebug_console_puts("keyboard-rom: requesting app handoff (no erase/write)\r\n");
	result = i2c_write_read(bus, EF800_KEYBOARD_I2C_ADDRESS,
		&enter, sizeof(enter), enter_response, sizeof(enter_response));
	if (result != 0 || enter_response[0] != enter ||
	    enter_response[1] != EF800_KEYBOARD_I2C_ACK) {
		hwdebug_console_printf("keyboard-rom: no app handoff response (%d, %02x %02x); "
			"trying ROM directly (expected after option-byte boot)\r\n", result,
			enter_response[0], enter_response[1]);
	} else {
		hwdebug_console_printf("keyboard-rom: application handoff ACK=%02x %02x\r\n",
			enter_response[0], enter_response[1]);
		k_msleep(500U);
		result = i2c_write_read(bus, EF800_KEYBOARD_I2C_ADDRESS,
			&status_request, sizeof(status_request), status, sizeof(status));
		if (result == 0 && status[0] == status_request &&
		    status[4] == EF800_KEYBOARD_I2C_MODE_APPLICATION &&
		    status[5] == EF800_KEYBOARD_I2C_ACK) {
			hwdebug_console_printf("keyboard-rom: FAIL target still answers application I2C "
				"version=%u.%u.%u; ROM handoff/reset did not occur\r\n",
				status[1], status[2], status[3]);
			return;
		}
	}

	result = rom_sync(bus);
	if (result != 0) {
		hwdebug_console_printf("keyboard-rom: ROM sync failed=%d; no flash commands sent\r\n",
			result);
		return;
	}
	hwdebug_console_puts("keyboard-rom: ROM sync ACK\r\n");

	result = rom_command(bus, KEYBOARD_ROM_CMD_GET_ID);
	if (result == 0) {
		result = rom_read(bus, &count, sizeof(count));
	}
	if (result == 0 && count == 1U) {
		result = rom_read(bus, id, sizeof(id));
	} else if (result == 0) {
		result = -EPROTO;
	}
	if (result != 0 || id[0] != 0x04U || id[1] != 0x35U) {
		hwdebug_console_printf("keyboard-rom: GET_ID failed=%d id=%02x %02x; "
			"no erase/write commands sent\r\n", result, id[0], id[1]);
		return;
	}
	hwdebug_console_printf("keyboard-rom: PASS STM32L431 ROM device ID=0x%02x%02x\r\n",
		id[0], id[1]);

	/* Return through the resident first-stage loader without modifying flash. */
	result = rom_command(bus, KEYBOARD_ROM_CMD_GO);
	if (result == 0) {
		result = rom_write(bus, go_address, sizeof(go_address));
	}
	if (result == 0) {
		result = rom_wait_ack(bus, 2000U);
	}
	if (result != 0) {
		hwdebug_console_printf("keyboard-rom: GO to existing loader failed=%d\r\n",
			result);
		return;
	}

	for (int attempt = 0; attempt < 100; ++attempt) {
		result = i2c_write_read(bus, EF800_KEYBOARD_I2C_ADDRESS,
			&status_request, sizeof(status_request), status, sizeof(status));
		if (result == 0 && status[0] == status_request &&
		    status[4] == EF800_KEYBOARD_I2C_MODE_APPLICATION &&
		    status[5] == EF800_KEYBOARD_I2C_ACK) {
			hwdebug_console_printf("keyboard-rom: PASS loader restarted app version=%u.%u.%u\r\n",
				status[1], status[2], status[3]);
			return;
		}
		hwdebug_flash_watchdog_feed();
		k_msleep(100U);
	}
	hwdebug_console_printf("keyboard-rom: ROM GO returned but app status did not recover (%d)\r\n",
		result);
}
```

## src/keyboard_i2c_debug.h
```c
/* SPDX-License-Identifier: Apache-2.0 */
/** @file @brief Inspect and test the keyboard I2C updater interface. */
#ifndef TEST_HWDEBUG_KEYBOARD_I2C_DEBUG_H_
#define TEST_HWDEBUG_KEYBOARD_I2C_DEBUG_H_

/** @brief Report keyboard updater I2C device readiness and status.
 * @return None.
 */
void hwdebug_keyboard_i2c_status(void);

/** @brief Run the keyboard updater ROM identification transaction.
 * @return None; prints identification and test result.
 */
void hwdebug_keyboard_i2c_rom_test(void);

#endif /* TEST_HWDEBUG_KEYBOARD_I2C_DEBUG_H_ */
```

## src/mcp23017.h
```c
/* SPDX-License-Identifier: Apache-2.0 */
/** @file @brief Hardware-debug commands for MCP23017 GPIO expander tests. */

#ifndef TEST_HWDEBUG_MCP23017_H
#define TEST_HWDEBUG_MCP23017_H

/** @brief Run the combined MCP23017 diagnostic suite.
 * @return None; reports test results on the debug console.
 */
void hwdebug_mcp23017_test(void);

/** @brief Test MCP23017 register-level behavior using raw transactions.
 * @return None; reports test results on the debug console.
 */
void hwdebug_mcp23017_raw_test(void);

/** @brief Test MCP23017 access through Zephyr's GPIO HAL.
 * @return None; reports test results on the debug console.
 */
void hwdebug_mcp23017_hal_test(void);

/** @brief Test the shared MCP23017 driver wrapper.
 * @return None; reports test results on the debug console.
 */
void hwdebug_mcp23017_driver_test(void);

#endif
```

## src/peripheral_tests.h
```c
/* SPDX-License-Identifier: Apache-2.0 */
/** @file
 * @brief Hardware-debug commands for keyboard, display, serial, storage, and USB.
 */
#ifndef TEST_HWDEBUG_PERIPHERAL_TESTS_H
#define TEST_HWDEBUG_PERIPHERAL_TESTS_H

#include <stdbool.h>
#include <stdint.h>

/** @brief Run the keyboard protocol test on a selected UART port.
 * @param port_name UART/port selector string.
 * @return None; prints test results.
 */
void hwdebug_keyboard_test(const char *port_name);

/** @brief Exercise the optional keyboard baud-rate switch protocol.
 * @return None; prints test results.
 */
void hwdebug_keyboard_baud_test(void);

/** @brief Query and print the decoded keyboard firmware version.
 * @return None.
 */
void hwdebug_keyboard_version(void);

/** @brief Query and print the raw keyboard version response bytes.
 * @return None.
 */
void hwdebug_keyboard_version_raw(void);

/** @brief Query and print the raw keyboard identifier response bytes.
 * @return None.
 */
void hwdebug_keyboard_id_raw(void);

/** @brief Release the keyboard reset line.
 * @return 0 on success; negative errno on GPIO failure.
 */
int hwdebug_keyboard_reset_release(void);

/** @brief Enter interactive keyboard diagnostic mode.
 * @return None.
 */
void hwdebug_keyboard_interactive(void);

/** @brief Run the display pixel/timing diagnostic.
 * @return None.
 */
void hwdebug_display_test(void);

/** @brief Enter interactive display command mode.
 * @return None.
 */
void hwdebug_display_interactive(void);

/** @brief Perform a bounded display write/read test.
 * @param count Number of iterations to run.
 * @return None.
 */
void hwdebug_display_wr_test(uint32_t count);

/** @brief Print display initialization and status information.
 * @return None.
 */
void hwdebug_display_status(void);

/** @brief Run a serial loopback test on a named UART.
 * @param port_name UART selector.
 * @return None.
 */
void hwdebug_uart_test(const char *port_name);

/** @brief Test the instrument UART selected by name.
 * @param instrument Instrument label used in output.
 * @param uart_name UART selector.
 * @return None.
 */
void hwdebug_instrument_uart_test(const char *instrument, const char *uart_name);

/** @brief Test the board's LPUART connection.
 * @return None.
 */
void hwdebug_lpuart_test(void);

/** @brief Test the LPUART using the host-side path.
 * @return None.
 */
void hwdebug_lpuart_host_test(void);

/** @brief Test LPUART signaling using software bit-banging.
 * @return None.
 */
void hwdebug_lpuart_bitbang_test(void);

/** @brief Inspect and exercise the configured storage device.
 * @return None.
 */
void hwdebug_storage_test(void);

/** @brief Print the fixed storage partition layout.
 * @return None.
 */
void hwdebug_storage_format_layout(void);

/** @brief Print detected filesystem volume layout and status.
 * @return None.
 */
void hwdebug_storage_format_volumes(void);

/** @brief Run the USB CDC device diagnostic.
 * @return None.
 */
void hwdebug_usb_cdc_test(void);

/** @brief Transfer a keyboard firmware package from the supplied path.
 * @param path Package path accessible to the debug image.
 * @return None; reports transfer outcome on the console.
 */
void hwdebug_keyboard_update(const char *path);

/** @brief Receive and report keyboard UART traffic.
 * @return None.
 */
void hwdebug_keyboard_receive(void);

/** @brief Probe the keyboard bootloader entry handshake.
 * @return None.
 */
void hwdebug_keyboard_bootloader_probe(void);

/** @brief Prepare shared storage for a keyboard update operation.
 * @return 0 when prepared; negative errno if storage ownership/setup fails.
 */
int hwdebug_storage_prepare_update(void);

/** @brief Check whether an interactive diagnostic has pending input.
 * @return True when input is pending.
 */
bool hwdebug_interactive_pending(void);

/** @brief Send a response to the active interactive diagnostic.
 * @param reply NUL-terminated response text.
 * @return None.
 */
void hwdebug_interactive_reply(const char *reply);

#endif
```

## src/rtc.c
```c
/* SPDX-License-Identifier: Apache-2.0 */

#include "rtc.h"
#include "test_result.h"
#include "flash.h"

#include <errno.h>

#include <zephyr/device.h>
#include <zephyr/devicetree.h>
#include <zephyr/drivers/i2c.h>
#include <zephyr/drivers/rtc.h>

#if DT_HAS_COMPAT_STATUS_OKAY(maxim_ds3231_rtc)
#define TEST_HWDEBUG_RTC_NODE DT_COMPAT_GET_ANY_STATUS_OKAY(maxim_ds3231_rtc)
#define TEST_HWDEBUG_RTC_BUS DT_BUS(TEST_HWDEBUG_RTC_NODE)
static const struct device *const rtc = DEVICE_DT_GET(TEST_HWDEBUG_RTC_NODE);
static const struct device *const rtc_i2c = DEVICE_DT_GET(TEST_HWDEBUG_RTC_BUS);
#endif

void hwdebug_rtc_test(void)
{
	hwdebug_test_begin("rtc/ds3231");
#if DT_HAS_COMPAT_STATUS_OKAY(maxim_ds3231_rtc)
	struct rtc_time time;
	int ret;

	if (!device_is_ready(rtc_i2c)) {
		hwdebug_test_fail("I2C controller is not ready", -ENODEV);
	} else if ((ret = i2c_configure(rtc_i2c, I2C_SPEED_SET(I2C_SPEED_FAST))) != 0) {
		hwdebug_test_fail("Zephyr I2C configure failed", ret);
	} else if (!device_is_ready(rtc)) {
		hwdebug_test_fail("DS3231 RTC is not ready", -ENODEV);
	} else if ((ret = rtc_get_time(rtc, &time)) != 0) {
		hwdebug_test_fail("DS3231 time read failed", ret);
	} else {
		hwdebug_console_printf("rtc: %04d-%02d-%02d %02d:%02d:%02d wday=%d\r\n",
			time.tm_year + 1900, time.tm_mon + 1, time.tm_mday,
			time.tm_hour, time.tm_min, time.tm_sec, time.tm_wday);
	}
#else
	hwdebug_test_fail("DS3231 RTC is missing from devicetree", -ENODEV);
#endif
	hwdebug_test_pass();
}
```

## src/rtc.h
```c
/* SPDX-License-Identifier: Apache-2.0 */
/** @file @brief Hardware-debug RTC read/write and behavior diagnostics. */

#ifndef TEST_HWDEBUG_RTC_H
#define TEST_HWDEBUG_RTC_H

/** @brief Exercise RTC reads, writes, and calendar handling.
 * @return None; prints diagnostic results.
 */
void hwdebug_rtc_test(void);

#endif
```

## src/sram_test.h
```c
/* SPDX-License-Identifier: Apache-2.0 */
/** @file @brief Run destructive SRAM diagnostics for hardware bring-up. */

#ifndef EF800_SRAM_TEST_H_
#define EF800_SRAM_TEST_H_

/** @brief Test accessible SRAM regions and report detected faults.
 * @return None; results are written to the hardware-debug console.
 */
void hwdebug_sram_test(void);

#endif
```
